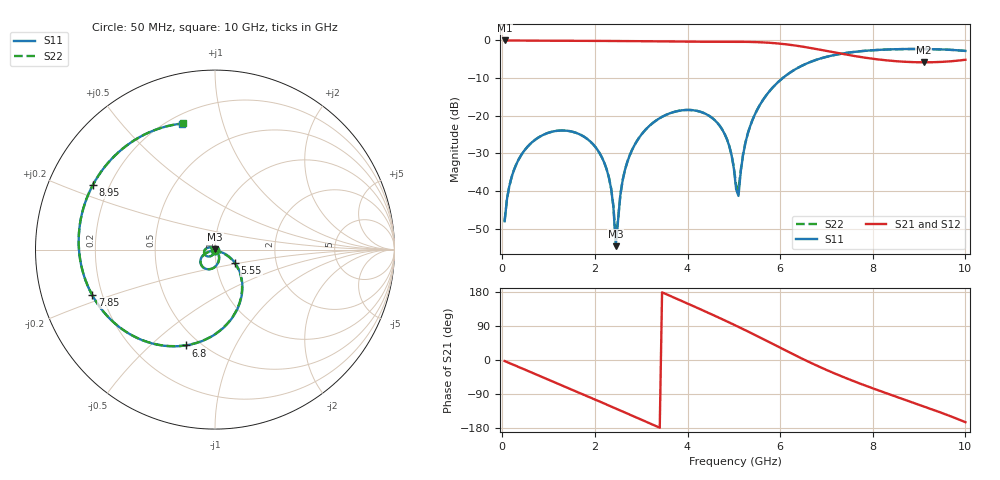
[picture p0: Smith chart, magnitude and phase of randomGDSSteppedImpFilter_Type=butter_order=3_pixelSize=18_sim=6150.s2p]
! freq	dB(S11)	phase(S11)	dB(S12)	phase(S12)
!  dB(S21)	phase(S21)	dB(S22)	phase(S22)
!S-par simulation data
#  GHz  S  DB  R 50
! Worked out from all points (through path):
!   200 points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, 50 MHz to 10 GHz, reference 50 ohm
!   highest |S21| = -0.01 dB at 50 MHz (marker M1); lowest = -5.8 dB at 9.1 GHz (marker M2)
!   group delay of S21, straight-line fit = 150 ps
!   lowest |S11| = -54.7 dB at 2.45 GHz (marker M3), VSWR 1.00, Z = 50 + j0.184 ohm
!   |S11| at or under -10 dB: start of sweep to 6.055 GHz
!   |S22| runs from -52.9 to -2.3 dB; largest |S21 - S12| = 0
!   S11 on the Smith chart (normalised r, x): 50 MHz: 1.00, -0.01; 5.55 GHz: 1.24, -0.19; 6.8 GHz: 0.42, -0.65; 7.85 GHz: 0.16, -0.17; 8.95 GHz: 0.14, +0.24; 10 GHz: 0.25, +0.74
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0.05  -48.06 -87.5  -0.01 -2.7  -0.01 -2.7  -48.06 -87.5
0.2  -36.38 -99.4  -0.02 -10.5  -0.02 -10.5  -36.38 -99.4
0.55  -28.18 -119.1  -0.04 -28.7  -0.04 -28.7  -28.18 -119.1
1.75  -25.48 177.2  -0.12 -91.1  -0.12 -91.1  -25.47 176.9
2.25  -34.13 148.5  -0.14 -117.4  -0.14 -117.4  -34.11 147.1
2.4  -44.30 131.8  -0.14 -125.3  -0.14 -125.3  -44.09 126.9
2.45  -54.68 91.0  -0.15 -128.0  -0.15 -128.0  -52.87 82.5
2.55  -41.01 -35.4  -0.16 -133.3  -0.16 -133.3  -40.92 -31.5
2.7  -32.28 -48.6  -0.17 -141.3  -0.17 -141.3  -32.27 -47.0
3.4  -20.66 -87.9  -0.26 -178.7  -0.26 -178.7  -20.66 -87.3
4.6  -21.34 -150.6  -0.35 116.1  -0.35 116.1  -21.33 -149.4
4.9  -28.05 -161.5  -0.34 99.1  -0.34 99.1  -27.98 -158.9
5.05  -39.60 -135.9  -0.35 90.4  -0.35 90.4  -38.50 -129.1
5.1  -41.30 -64.3  -0.35 87.4  -0.35 87.4  -39.69 -69.2
5.55  -17.40 -33.8  -0.47 60.3  -0.47 60.3  -17.39 -34.7
6.7  -5.50 -101.3  -2.10 -9.6  -2.10 -9.6  -5.50 -101.5
6.8  -5.07 -106.9  -2.33 -15.3  -2.33 -15.3  -5.07 -107.1
7.85  -2.74 -159.7  -4.61 -68.0  -4.61 -68.0  -2.74 -159.9
8.35  -2.39 178.0  -5.36 -90.1  -5.36 -90.1  -2.39 177.9
8.95  -2.27 152.2  -5.79 -115.9  -5.79 -115.9  -2.27 152.1
9.1  -2.28 145.7  -5.81 -122.4  -5.81 -122.4  -2.28 145.6
10  -2.79 104.5  -5.13 -164.1  -5.13 -164.1  -2.79 104.4
